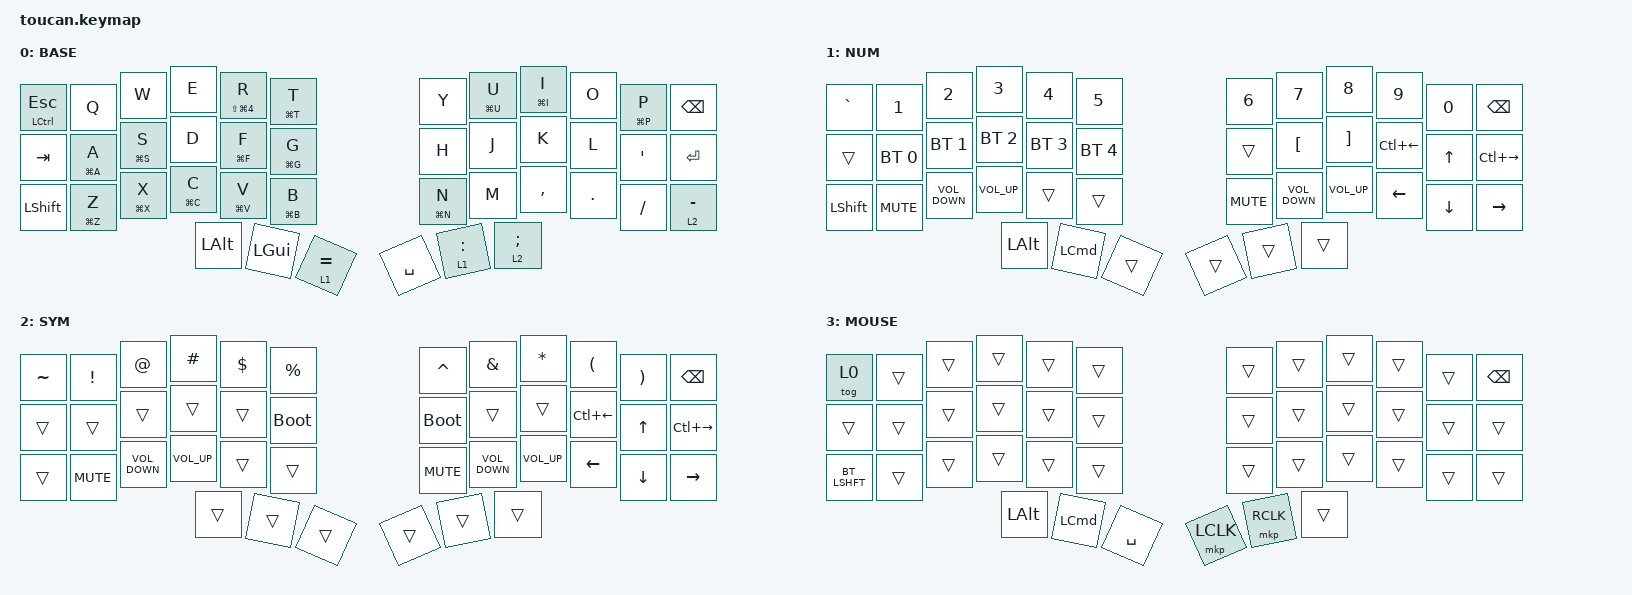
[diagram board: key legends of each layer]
#include <behaviors.dtsi>
#include <dt-bindings/zmk/bt.h>
#include <dt-bindings/zmk/keys.h>
#include <dt-bindings/zmk/pointing.h>

#define BASE 0
#define NAV  1
#define SYM  2
#define ADJ  3

&mt {
    tapping-term-ms = <800>;
    flavor = "tap-preferred";
};

/ {
    conditional_layers {
        compatible = "zmk,conditional-layers";

        tri_layer {
            if-layers = <1 2>;
            then-layer = <3>;
        };
    };

    combos {
        compatible = "zmk,combos";

        LeftMouseClick {
            bindings = <&mkp LCLK>;
            key-positions = <38 37>;
        };

        RightMouseClick {
            bindings = <&mkp RCLK>;
            key-positions = <41 40>;
        };

        MouseModeToggle {
            bindings = <&tog 3>;
            key-positions = <39 40>;
        };
    };

    keymap {
        compatible = "zmk,keymap";

        base {
            display-name = "BASE";
            bindings = <
&mt LEFT_CONTROL ESC  &kp Q  &kp W  &kp E  &mt LS(LG(NUMBER_4)) R  &mt LG(T) T  &kp Y  &mt LG(U) U  &mt LG(I) I  &kp O  &mt LG(P) P  &kp BSPC  &kp TAB  &mt LG(A) A  &mt LG(S) S  &kp D  &mt LG(F) F  &mt LG(G) G  &kp H  &kp J  &kp K  &kp L  &kp SQT  &kp ENTER  &kp LSHFT  &mt LG(Z) Z  &mt LG(X) X  &mt LG(C) C  &mt LG(V) V  &mt LG(B) B  &mt LG(N) N  &kp M  &kp COMMA  &kp DOT  &kp FSLH  &lt 2 MINUS  &kp LEFT_ALT  &kp LEFT_GUI  &lt 1 EQUAL  &kp SPACE  &lt 1 COLON  &lt 2 SEMICOLON
            >;
        };

        num {
            display-name = "NUM";
            bindings = <
&kp GRAVE  &kp N1  &kp N2  &kp N3  &kp N4  &kp N5  &kp N6  &kp N7  &kp N8  &kp N9  &kp N0  &kp BSPC  &trans  &bt BT_SEL 0  &bt BT_SEL 1  &bt BT_SEL 2  &bt BT_SEL 3  &bt BT_SEL 4  &trans  &kp LEFT_BRACKET  &kp RIGHT_BRACKET  &kp LC(LEFT)  &kp UP_ARROW  &kp LC(RIGHT)  &kp LSHFT  &kp K_MUTE  &kp C_VOLUME_DOWN  &kp C_VOLUME_UP  &trans  &trans  &kp K_MUTE  &kp C_VOLUME_DOWN  &kp C_VOLUME_UP  &kp LEFT  &kp DOWN_ARROW  &kp RIGHT_ARROW  &kp LEFT_ALT  &kp LEFT_COMMAND  &trans  &trans  &trans  &trans
            >;
        };

        sym {
            display-name = "SYM";
            bindings = <
&kp TILDE  &kp EXCL  &kp AT  &kp HASH  &kp DLLR  &kp PRCNT  &kp CARET  &kp AMPS  &kp ASTERISK  &kp LPAR  &kp RPAR  &kp BSPC  &trans  &trans  &trans  &trans  &trans  &bootloader  &bootloader  &trans  &trans  &kp LC(LEFT)  &kp UP_ARROW  &kp LC(RIGHT)  &trans  &kp K_MUTE  &kp C_VOLUME_DOWN  &kp C_VOLUME_UP  &trans  &trans  &kp K_MUTE  &kp C_VOLUME_DOWN  &kp C_VOLUME_UP  &kp LEFT  &kp DOWN  &kp RIGHT  &trans  &trans  &trans  &trans  &trans  &trans
            >;
        };

        adj {
            display-name = "MOUSE";
            bindings = <
&tog 0  &trans  &trans  &trans  &trans  &trans  &trans  &trans  &trans  &trans  &trans  &kp BSPC  &trans  &trans  &trans  &trans  &trans  &trans  &trans  &trans  &trans  &trans  &trans  &trans  &bt LSHFT  &trans  &trans  &trans  &trans  &trans  &trans  &trans  &trans  &trans  &trans  &trans  &kp LEFT_ALT  &kp LEFT_COMMAND  &kp SPACE  &mkp LCLK  &mkp RCLK  &trans
            >;
        };

        extra_1 { status = "reserved"; };

        extra_2 { status = "reserved"; };

        extra_3 { status = "reserved"; };
    };
};
